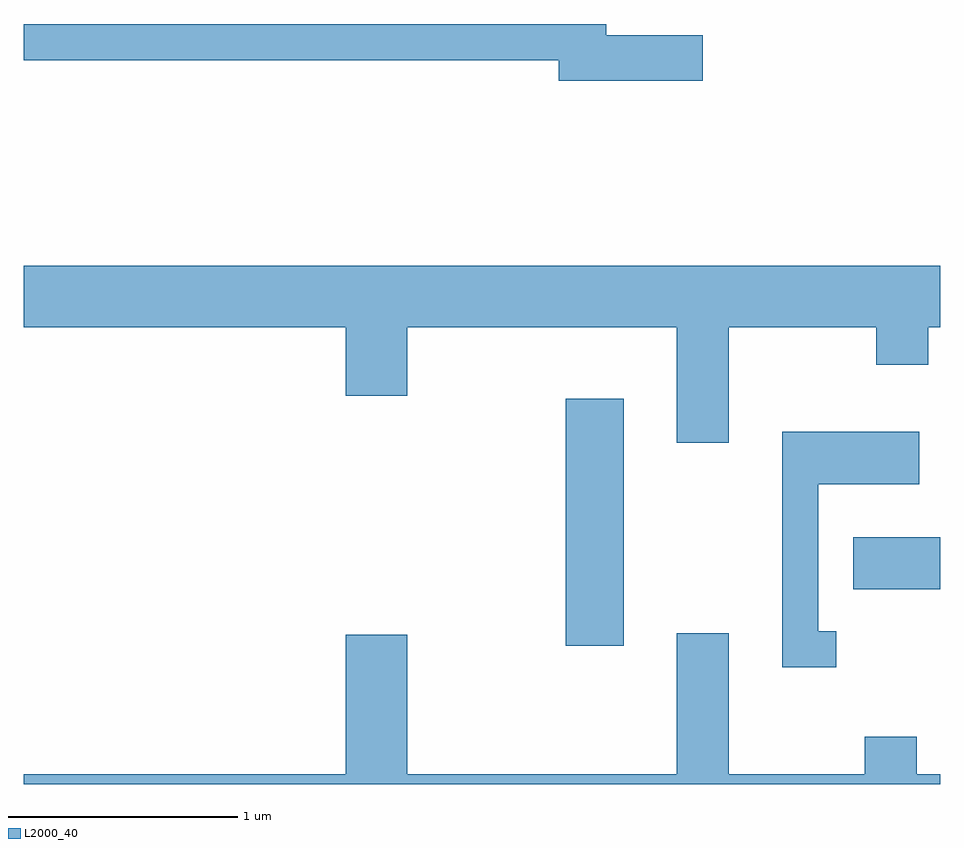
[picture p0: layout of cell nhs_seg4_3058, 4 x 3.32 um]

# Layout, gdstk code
import gdstk
lib = gdstk.Library(unit=1e-6, precision=1e-09)
def R(c, l, rs):  # rectangles x0, y0, x1, y1
    for r in rs: c.add(gdstk.rectangle(r[:2], r[2:], *l))
def P(c, l, *ps):  # polygons
    for p in ps: c.add(gdstk.Polygon(p, *l))
L2000_40 = (2000, 40)

nhs_seg4_3058 = lib.new_cell('nhs_seg4_3058')
R(nhs_seg4_3058, L2000_40, [(275.976,1386.586,276.229,1387.664), (277.231,1386.831,277.611,1387.059)])
P(nhs_seg4_3058, L2000_40, [(276.574,1389.249),(276.154,1389.249),(276.154,1389.299),(273.611,1389.299),(273.611,1389.141),(275.946,1389.141),(275.946,1389.051),(276.574,1389.051)],
  [(276.689,1387.976),(277.331,1387.976),(277.331,1387.811),(277.559,1387.811),(277.559,1387.976),(277.611,1387.976),(277.611,1388.244),(273.611,1388.244),(273.611,1387.976),(275.016,1387.976),(275.016,1387.676),(275.284,1387.676),(275.284,1387.976),(276.461,1387.976),(276.461,1387.471),(276.689,1387.471)],
  [(277.158,1386.649),(277.079,1386.649),(277.079,1387.291),(277.519,1387.291),(277.519,1387.519),(276.921,1387.519),(276.921,1386.491),(277.158,1386.491)],
  [(277.611,1386.024),(277.509,1386.024),(277.509,1386.189),(277.281,1386.189),(277.281,1386.024),(276.689,1386.024),(276.689,1386.639),(276.461,1386.639),(276.461,1386.024),(275.284,1386.024),(275.284,1386.634),(275.016,1386.634),(275.016,1386.024),(273.611,1386.024),(273.611,1385.982),(277.611,1385.982)])

lib.write_gds('nhs_seg4_3058.gds')
